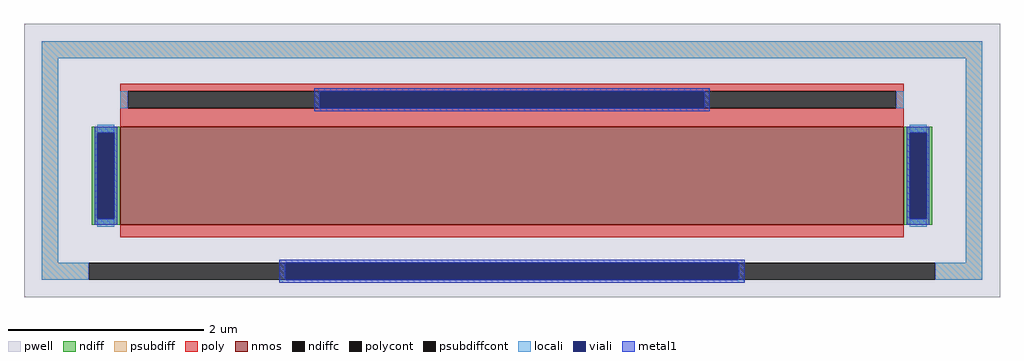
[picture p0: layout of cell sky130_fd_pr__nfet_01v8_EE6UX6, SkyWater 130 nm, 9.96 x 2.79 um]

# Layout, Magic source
magic
tech sky130A
magscale 1 2
<< pwell >>
rect -996 -279 996 279
<< nmos >>
rect -800 -131 800 69
<< ndiff >>
rect -858 57 -800 69
rect -858 -119 -846 57
rect -812 -119 -800 57
rect -858 -131 -800 -119
rect 800 57 858 69
rect 800 -119 812 57
rect 846 -119 858 57
rect 800 -131 858 -119
<< ndiffc >>
rect -846 -119 -812 57
rect 812 -119 846 57
<< psubdiff >>
rect -960 209 960 243
rect -960 -209 -926 209
rect 926 -209 960 209
rect -960 -243 -864 -209
rect 864 -243 960 -209
<< psubdiffcont >>
rect -864 -243 864 -209
<< poly >>
rect -800 141 800 157
rect -800 107 -784 141
rect 784 107 800 141
rect -800 69 800 107
rect -800 -157 800 -131
<< polycont >>
rect -784 107 784 141
<< locali >>
rect -960 209 960 243
rect -960 -209 -926 209
rect -800 107 -784 141
rect 784 107 800 141
rect -846 57 -812 73
rect -846 -135 -812 -119
rect 812 57 846 73
rect 812 -135 846 -119
rect 926 -209 960 209
rect -960 -243 -864 -209
rect 864 -243 960 -209
<< viali >>
rect -392 107 392 141
rect -846 -119 -812 57
rect 812 -119 846 57
rect -463 -243 463 -209
<< metal1 >>
rect -404 141 404 147
rect -404 107 -392 141
rect 392 107 404 141
rect -404 101 404 107
rect -852 57 -806 69
rect -852 -119 -846 57
rect -812 -119 -806 57
rect -852 -131 -806 -119
rect 806 57 852 69
rect 806 -119 812 57
rect 846 -119 852 57
rect 806 -131 852 -119
rect -475 -209 475 -203
rect -475 -243 -463 -209
rect 463 -243 475 -209
rect -475 -249 475 -243
<< properties >>
string FIXED_BBOX -943 -226 943 226
string gencell sky130_fd_pr__nfet_01v8
string library sky130
string parameters w 1.0 l 8.0 m 1 nf 1 diffcov 100 polycov 100 guard 1 glc 0 grc 0 gtc 0 gbc 1 tbcov 100 rlcov 100 topc 1 botc 0 poverlap 0 doverlap 1 lmin 0.15 wmin 0.42 compatible {sky130_fd_pr__nfet_01v8 sky130_fd_pr__nfet_01v8_lvt  sky130_fd_bs_flash__special_sonosfet_star  sky130_fd_pr__nfet_g5v0d10v5 sky130_fd_pr__nfet_05v0_nvt  sky130_fd_pr__nfet_03v3_nvt} full_metal 1 viasrc 100 viadrn 100 viagate 50 viagb 50 viagr 0 viagl 0 viagt 0
<< end >>
